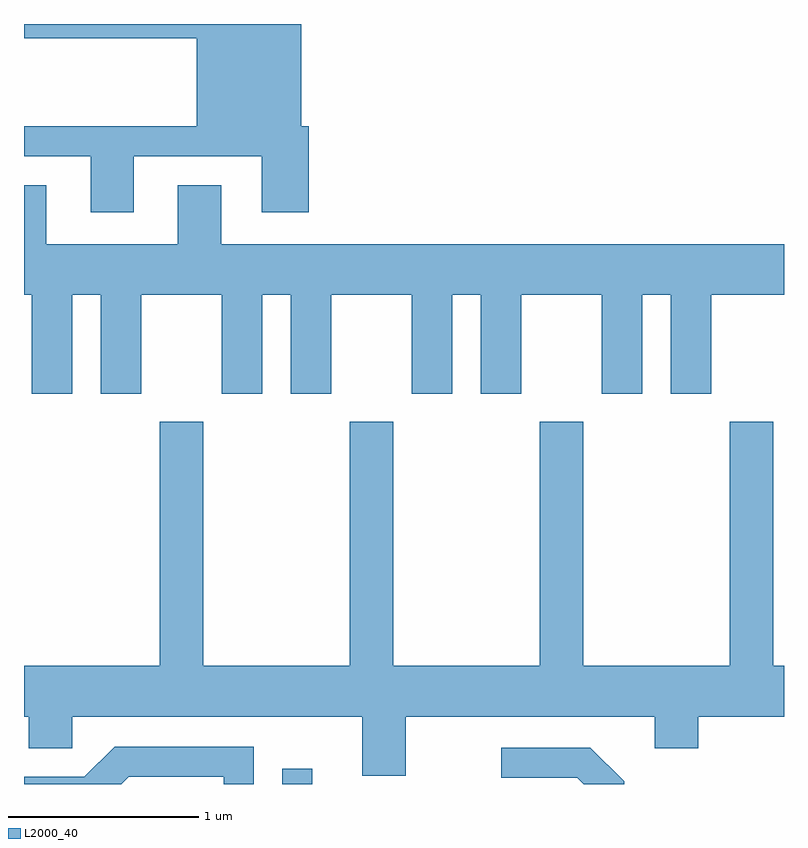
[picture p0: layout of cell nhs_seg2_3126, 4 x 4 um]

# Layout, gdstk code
import gdstk
lib = gdstk.Library(unit=1e-6, precision=1e-09)
def R(c, l, rs):  # rectangles x0, y0, x1, y1
    for r in rs: c.add(gdstk.rectangle(r[:2], r[2:], *l))
def P(c, l, *ps):  # polygons
    for p in ps: c.add(gdstk.Polygon(p, *l))
L2000_40 = (2000, 40)

nhs_seg2_3126 = lib.new_cell('nhs_seg2_3126')
R(nhs_seg2_3126, L2000_40, [(278.971,985.802,279.129,985.883)])
P(nhs_seg2_3126, L2000_40, [(278.189,989.106),(278.861,989.106),(278.861,988.811),(279.109,988.811),(279.109,989.264),(279.069,989.264),(279.069,989.802),(277.611,989.802),(277.611,989.726),(278.521,989.726),(278.521,989.264),(277.611,989.264),(277.611,989.106),(277.961,989.106),(277.961,988.811),(278.189,988.811)],
  [(277.864,988.376),(278.016,988.376),(278.016,987.856),(278.229,987.856),(278.229,988.376),(278.651,988.376),(278.651,987.856),(278.864,987.856),(278.864,988.376),(279.016,988.376),(279.016,987.856),(279.229,987.856),(279.229,988.376),(279.651,988.376),(279.651,987.856),(279.864,987.856),(279.864,988.376),(280.016,988.376),(280.016,987.856),(280.229,987.856),(280.229,988.376),(280.651,988.376),(280.651,987.856),(280.864,987.856),(280.864,988.376),(281.016,988.376),(281.016,987.856),(281.229,987.856),(281.229,988.376),(281.611,988.376),(281.611,988.644),(278.649,988.644),(278.649,988.954),(278.421,988.954),(278.421,988.644),(277.729,988.644),(277.729,988.954),(277.611,988.954),(277.611,988.376),(277.651,988.376),(277.651,987.856),(277.864,987.856)],
  [(279.619,986.156),(280.931,986.156),(280.931,985.991),(281.159,985.991),(281.159,986.156),(281.611,986.156),(281.611,986.424),(281.554,986.424),(281.554,987.709),(281.326,987.709),(281.326,986.424),(280.554,986.424),(280.554,987.709),(280.326,987.709),(280.326,986.424),(279.554,986.424),(279.554,987.709),(279.326,987.709),(279.326,986.424),(278.554,986.424),(278.554,987.709),(278.326,987.709),(278.326,986.424),(277.611,986.424),(277.611,986.156),(277.636,986.156),(277.636,985.991),(277.864,985.991),(277.864,986.156),(279.391,986.156),(279.391,985.846),(279.619,985.846)],
  [(278.162,985.841),(278.661,985.841),(278.661,985.802),(278.819,985.802),(278.819,985.999),(278.089,985.999),(277.929,985.839),(277.611,985.839),(277.611,985.802),(278.123,985.802)],
  [(280.769,985.817),(280.592,985.994),(280.123,985.994),(280.123,985.836),(280.524,985.836),(280.558,985.802),(280.769,985.802)])

lib.write_gds('nhs_seg2_3126.gds')
